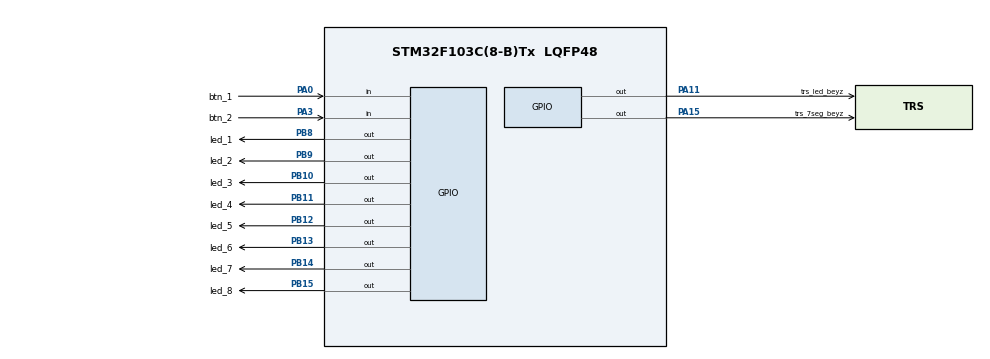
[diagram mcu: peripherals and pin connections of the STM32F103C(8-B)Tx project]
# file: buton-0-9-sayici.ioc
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Mcu.Family=STM32F1
Mcu.Name=STM32F103C(8-B)Tx
Mcu.Package=LQFP48
NVIC.PriorityGroup=NVIC_PRIORITYGROUP_4
PA0-WKUP.GPIO_Label=btn_1
PA0-WKUP.Signal=GPIO_Input
PA11.GPIO_Label=trs_led_beyz
PA11.Signal=GPIO_Output
PA15.GPIO_Label=trs_7seg_beyz
PA15.Signal=GPIO_Output
PA3.GPIO_Label=btn_2
PA3.Signal=GPIO_Input
PB10.GPIO_Label=led_3
PB10.Signal=GPIO_Output
PB11.GPIO_Label=led_4
PB11.Signal=GPIO_Output
PB12.GPIO_Label=led_5
PB12.Signal=GPIO_Output
PB13.GPIO_Label=led_6
PB13.Signal=GPIO_Output
PB14.GPIO_Label=led_7
PB14.Signal=GPIO_Output
PB15.GPIO_Label=led_8
PB15.Signal=GPIO_Output
PB8.GPIO_Label=led_1
PB8.Signal=GPIO_Output
PB9.GPIO_Label=led_2
PB9.Signal=GPIO_Output
ProjectManager.HeapSize=0x200
ProjectManager.StackSize=0x400
ProjectManager.TargetToolchain=STM32CubeIDE
RCC.APB1Freq_Value=8000000
RCC.APB2Freq_Value=8000000
VP_SYS_VS_ND.Mode=No_Debug
board=custom

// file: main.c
/* USER CODE BEGIN Header */
/**
  ******************************************************************************
  * @file           : main.c
  * @brief          : Main program body
  ******************************************************************************
  * @attention
  *
  * Copyright (c) 2026 STMicroelectronics.
  * All rights reserved.
  *
  * This software is licensed under terms that can be found in the LICENSE file
  * in the root directory of this software component.
  * If no LICENSE file comes with this software, it is provided AS-IS.
  *
  ******************************************************************************
  */
/* USER CODE END Header */
#include "main.h"

void SystemClock_Config(void);
static void MX_GPIO_Init(void);

int main(void)
{

  /* MCU Configuration--------------------------------------------------------*/

  /* Reset of all peripherals, Initializes the Flash interface and the Systick. */
  HAL_Init();

  /* Configure the system clock */
  SystemClock_Config();

  /* Initialize all configured peripherals */
  MX_GPIO_Init();

  /* Infinite loop */
  /* USER CODE BEGIN WHILE */

  HAL_GPIO_WritePin(trs_led_beyz_GPIO_Port, trs_led_beyz_Pin, GPIO_PIN_RESET);
  HAL_GPIO_WritePin(trs_7seg_beyz_GPIO_Port, trs_7seg_beyz_Pin, GPIO_PIN_SET);

  int sayac = 0;

  while (1)
  {

      if (HAL_GPIO_ReadPin(btn_1_GPIO_Port, btn_1_Pin) == 0)
      {
          while(HAL_GPIO_ReadPin(btn_1_GPIO_Port, btn_1_Pin) == 0);
          sayac++;
      }

      if (HAL_GPIO_ReadPin(btn_2_GPIO_Port, btn_2_Pin) == 0)
      {
          while(HAL_GPIO_ReadPin(btn_2_GPIO_Port, btn_2_Pin) == 0);
          sayac--;
      }

      if (sayac > 9) sayac = 9;
      if (sayac < 0) sayac = 0;

      switch (sayac)
      {
          case 0: GPIOB->ODR = 0x7700; break;
          case 1: GPIOB->ODR = 0x2400; break;
          case 2: GPIOB->ODR = 0xE300; break;
          case 3: GPIOB->ODR = 0xE500; break;
          case 4: GPIOB->ODR = 0xB400; break;
          case 5: GPIOB->ODR = 0xD500; break;
          case 6: GPIOB->ODR = 0xD700; break;
          case 7: GPIOB->ODR = 0x6400; break;
          case 8: GPIOB->ODR = 0xF700; break;
          case 9: GPIOB->ODR = 0xF500; break;
          default: break;
      }
  }
    /* USER CODE END WHILE */

  }

void SystemClock_Config(void)
{
  RCC_OscInitTypeDef RCC_OscInitStruct = {0};
  RCC_ClkInitTypeDef RCC_ClkInitStruct = {0};

  /** Initializes the RCC Oscillators according to the specified parameters
  * in the RCC_OscInitTypeDef structure.
  */
  RCC_OscInitStruct.OscillatorType = RCC_OSCILLATORTYPE_HSI;
  RCC_OscInitStruct.HSIState = RCC_HSI_ON;
  RCC_OscInitStruct.HSICalibrationValue = RCC_HSICALIBRATION_DEFAULT;
  RCC_OscInitStruct.PLL.PLLState = RCC_PLL_NONE;
  if (HAL_RCC_OscConfig(&RCC_OscInitStruct) != HAL_OK)
  {
    Error_Handler();
  }

  /** Initializes the CPU, AHB and APB buses clocks
  */
  RCC_ClkInitStruct.ClockType = RCC_CLOCKTYPE_HCLK|RCC_CLOCKTYPE_SYSCLK
                              |RCC_CLOCKTYPE_PCLK1|RCC_CLOCKTYPE_PCLK2;
  RCC_ClkInitStruct.SYSCLKSource = RCC_SYSCLKSOURCE_HSI;
  RCC_ClkInitStruct.AHBCLKDivider = RCC_SYSCLK_DIV1;
  RCC_ClkInitStruct.APB1CLKDivider = RCC_HCLK_DIV1;
  RCC_ClkInitStruct.APB2CLKDivider = RCC_HCLK_DIV1;

  if (HAL_RCC_ClockConfig(&RCC_ClkInitStruct, FLASH_LATENCY_0) != HAL_OK)
  {
    Error_Handler();
  }
}

static void MX_GPIO_Init(void)
{
  GPIO_InitTypeDef GPIO_InitStruct = {0};

  /* GPIO Ports Clock Enable */
  __HAL_RCC_GPIOA_CLK_ENABLE();
  __HAL_RCC_GPIOB_CLK_ENABLE();

  /*Configure GPIO pin Output Level */
  HAL_GPIO_WritePin(GPIOB, led_3_Pin|led_4_Pin|led_5_Pin|led_6_Pin
                          |led_7_Pin|led_8_Pin|led_1_Pin|led_2_Pin, GPIO_PIN_RESET);

  /*Configure GPIO pin Output Level */
  HAL_GPIO_WritePin(GPIOA, trs_led_beyz_Pin|trs_7seg_beyz_Pin, GPIO_PIN_RESET);

  /*Configure GPIO pins : btn_1_Pin btn_2_Pin */
  GPIO_InitStruct.Pin = btn_1_Pin|btn_2_Pin;
  GPIO_InitStruct.Mode = GPIO_MODE_INPUT;
  GPIO_InitStruct.Pull = GPIO_NOPULL;
  HAL_GPIO_Init(GPIOA, &GPIO_InitStruct);

  /*Configure GPIO pins : led_3_Pin led_4_Pin led_5_Pin led_6_Pin
                           led_7_Pin led_8_Pin led_1_Pin led_2_Pin */
  GPIO_InitStruct.Pin = led_3_Pin|led_4_Pin|led_5_Pin|led_6_Pin
                          |led_7_Pin|led_8_Pin|led_1_Pin|led_2_Pin;
  GPIO_InitStruct.Mode = GPIO_MODE_OUTPUT_PP;
  GPIO_InitStruct.Pull = GPIO_NOPULL;
  GPIO_InitStruct.Speed = GPIO_SPEED_FREQ_LOW;
  HAL_GPIO_Init(GPIOB, &GPIO_InitStruct);

  /*Configure GPIO pins : trs_led_beyz_Pin trs_7seg_beyz_Pin */
  GPIO_InitStruct.Pin = trs_led_beyz_Pin|trs_7seg_beyz_Pin;
  GPIO_InitStruct.Mode = GPIO_MODE_OUTPUT_PP;
  GPIO_InitStruct.Pull = GPIO_NOPULL;
  GPIO_InitStruct.Speed = GPIO_SPEED_FREQ_LOW;
  HAL_GPIO_Init(GPIOA, &GPIO_InitStruct);

}

void Error_Handler(void)
{
  __disable_irq();
  while (1)
  {
  }
}
